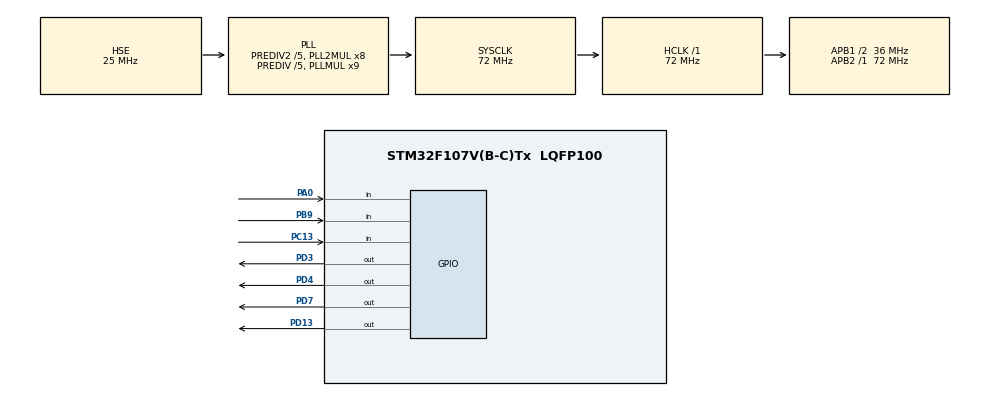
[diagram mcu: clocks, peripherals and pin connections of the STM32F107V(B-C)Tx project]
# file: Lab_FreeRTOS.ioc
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FREERTOS.CountingSemaphores01=WakeUpKeyPressed,5
FREERTOS.Queues01=PressedBtn,16,uint8_t,NULL
FREERTOS.Tasks01=defaultTask,0,128,StartDefaultTask;ScanUserKeys,0,128,StartScanUserKeys;TaskLEDS,0,128,StartTaskLEDS;TaskLEDBlink,0,128,StartLEDBlink;ScanWakeUpKey,0,128,StartScanWakeUpKey
Mcu.Family=STM32F1
Mcu.Name=STM32F107V(B-C)Tx
Mcu.Package=LQFP100
NVIC.PriorityGroup=NVIC_PRIORITYGROUP_4
OSC_IN.Mode=HSE-External-Oscillator
OSC_IN.Signal=RCC_OSC_IN
OSC_OUT.Mode=HSE-External-Oscillator
OSC_OUT.Signal=RCC_OSC_OUT
PA0-WKUP.GPIO_PuPd=GPIO_PULLDOWN
PA0-WKUP.Signal=GPIO_Input
PB9.GPIO_PuPd=GPIO_PULLUP
PB9.Signal=GPIO_Input
PC13-TAMPER-RTC.GPIO_PuPd=GPIO_PULLUP
PC13-TAMPER-RTC.Signal=GPIO_Input
PD13.Signal=GPIO_Output
PD3.Signal=GPIO_Output
PD4.Signal=GPIO_Output
PD7.Signal=GPIO_Output
ProjectManager.TargetToolchain=MDK-ARM V5
RCC.AHBFreq_Value=72000000
RCC.APB1CLKDivider=RCC_HCLK_DIV2
RCC.APB1Freq_Value=36000000
RCC.APB1TimFreq_Value=72000000
RCC.APB2Freq_Value=72000000
RCC.APB2TimFreq_Value=72000000
RCC.EnbaleCSS=true
RCC.HCLKFreq_Value=72000000
RCC.HSEDivPLL=RCC_HSE_PREDIV_DIV5
RCC.HSE_VALUE=25000000
RCC.HSIState=RCC_HSI_ON
RCC.PLLMUL=RCC_PLL_MUL9
RCC.PLLSourceVirtual=RCC_PLLSOURCE_HSE
RCC.Prediv1Source=RCC_PREDIV1_SOURCE_PLL2
RCC.Prediv2=RCC_HSE_PREDIV2_DIV5
RCC.SYSCLKFreq_VALUE=72000000
RCC.SYSCLKSource=RCC_SYSCLKSOURCE_PLLCLK
RCC.USBFreq_Value=48000000
VP_FREERTOS_VS_ENABLE.Mode=Enabled
board=Lab_FreeRTOS

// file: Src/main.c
/**
  ******************************************************************************
  * File Name          : main.c
  * Description        : Main program body
  ******************************************************************************
  *
  * COPYRIGHT(c) 2015 STMicroelectronics
  *
  * Redistribution and use in source and binary forms, with or without modification,
  * are permitted provided that the following conditions are met:
  *   1. Redistributions of source code must retain the above copyright notice,
  *      this list of conditions and the following disclaimer.
  *   2. Redistributions in binary form must reproduce the above copyright notice,
  *      this list of conditions and the following disclaimer in the documentation
  *      and/or other materials provided with the distribution.
  *   3. Neither the name of STMicroelectronics nor the names of its contributors
  *      may be used to endorse or promote products derived from this software
  *      without specific prior written permission.
  *
  * THIS SOFTWARE IS PROVIDED BY THE COPYRIGHT HOLDERS AND CONTRIBUTORS "AS IS"
  * AND ANY EXPRESS OR IMPLIED WARRANTIES, INCLUDING, BUT NOT LIMITED TO, THE
  * IMPLIED WARRANTIES OF MERCHANTABILITY AND FITNESS FOR A PARTICULAR PURPOSE ARE
  * DISCLAIMED. IN NO EVENT SHALL THE COPYRIGHT HOLDER OR CONTRIBUTORS BE LIABLE
  * FOR ANY DIRECT, INDIRECT, INCIDENTAL, SPECIAL, EXEMPLARY, OR CONSEQUENTIAL
  * DAMAGES (INCLUDING, BUT NOT LIMITED TO, PROCUREMENT OF SUBSTITUTE GOODS OR
  * SERVICES; LOSS OF USE, DATA, OR PROFITS; OR BUSINESS INTERRUPTION) HOWEVER
  * CAUSED AND ON ANY THEORY OF LIABILITY, WHETHER IN CONTRACT, STRICT LIABILITY,
  * OR TORT (INCLUDING NEGLIGENCE OR OTHERWISE) ARISING IN ANY WAY OUT OF THE USE
  * OF THIS SOFTWARE, EVEN IF ADVISED OF THE POSSIBILITY OF SUCH DAMAGE.
  *
  ******************************************************************************
  */
#include "stm32f1xx_hal.h"
#include "cmsis_os.h"

osThreadId defaultTaskHandle;
osThreadId ScanUserKeysHandle;
osThreadId TaskLEDSHandle;
osThreadId TaskLEDBlinkHandle;
osThreadId ScanWakeUpKeyHandle;
osMessageQId PressedBtnHandle;
osSemaphoreId WakeUpKeyPressedHandle;

/* USER CODE BEGIN PV */
/* Private variables ---------------------------------------------------------*/

/* USER CODE END PV */

void SystemClock_Config(void);
static void MX_GPIO_Init(void);
void StartDefaultTask(void const * argument);
void StartScanUserKeys(void const * argument);
void StartTaskLEDS(void const * argument);
void StartLEDBlink(void const * argument);
void StartScanWakeUpKey(void const * argument);

/* USER CODE BEGIN PFP */
/* Private function prototypes -----------------------------------------------*/

/* USER CODE END PFP */

int main(void)
{

  /* MCU Configuration----------------------------------------------------------*/

  /* Reset of all peripherals, Initializes the Flash interface and the Systick. */
  HAL_Init();

  /* Configure the system clock */
  SystemClock_Config();

  /* Initialize all configured peripherals */
  MX_GPIO_Init();

  /* Create the semaphores(s) */
  /* definition and creation of WakeUpKeyPressed */
  osSemaphoreDef(WakeUpKeyPressed);
  WakeUpKeyPressedHandle = osSemaphoreCreate(osSemaphore(WakeUpKeyPressed), 5);

  /* Create the thread(s) */
  /* definition and creation of defaultTask */
  osThreadDef(defaultTask, StartDefaultTask, osPriorityNormal, 0, 128);
  defaultTaskHandle = osThreadCreate(osThread(defaultTask), NULL);

  /* definition and creation of ScanUserKeys */
  osThreadDef(ScanUserKeys, StartScanUserKeys, osPriorityNormal, 0, 128);
  ScanUserKeysHandle = osThreadCreate(osThread(ScanUserKeys), NULL);

  /* definition and creation of TaskLEDS */
  osThreadDef(TaskLEDS, StartTaskLEDS, osPriorityNormal, 0, 128);
  TaskLEDSHandle = osThreadCreate(osThread(TaskLEDS), NULL);

  /* definition and creation of TaskLEDBlink */
  osThreadDef(TaskLEDBlink, StartLEDBlink, osPriorityNormal, 0, 128);
  TaskLEDBlinkHandle = osThreadCreate(osThread(TaskLEDBlink), NULL);

  /* definition and creation of ScanWakeUpKey */
  osThreadDef(ScanWakeUpKey, StartScanWakeUpKey, osPriorityNormal, 0, 128);
  ScanWakeUpKeyHandle = osThreadCreate(osThread(ScanWakeUpKey), NULL);

  /* Create the queue(s) */
  /* definition and creation of PressedBtn */
  osMessageQDef(PressedBtn, 16, uint8_t);
  PressedBtnHandle = osMessageCreate(osMessageQ(PressedBtn), NULL);

  /* Start scheduler */
  osKernelStart();

  /* We should never get here as control is now taken by the scheduler */

  /* Infinite loop */
  while (1)
  {

  }

}

/** System Clock Configuration
*/
void SystemClock_Config(void)
{

  RCC_OscInitTypeDef RCC_OscInitStruct;
  RCC_ClkInitTypeDef RCC_ClkInitStruct;

  RCC_OscInitStruct.OscillatorType = RCC_OSCILLATORTYPE_HSE;
  RCC_OscInitStruct.HSEState = RCC_HSE_ON;
  RCC_OscInitStruct.HSEPredivValue = RCC_HSE_PREDIV_DIV5;
  RCC_OscInitStruct.Prediv1Source = RCC_PREDIV1_SOURCE_PLL2;
  RCC_OscInitStruct.PLL.PLLState = RCC_PLL_ON;
  RCC_OscInitStruct.PLL.PLLSource = RCC_PLLSOURCE_HSE;
  RCC_OscInitStruct.PLL.PLLMUL = RCC_PLL_MUL9;
  RCC_OscInitStruct.PLL2.PLL2State = RCC_PLL2_ON;
  RCC_OscInitStruct.PLL2.PLL2MUL = RCC_PLL2_MUL8;
  RCC_OscInitStruct.PLL2.HSEPrediv2Value = RCC_HSE_PREDIV2_DIV5;
  HAL_RCC_OscConfig(&RCC_OscInitStruct);

  RCC_ClkInitStruct.ClockType = RCC_CLOCKTYPE_SYSCLK|RCC_CLOCKTYPE_PCLK1;
  RCC_ClkInitStruct.SYSCLKSource = RCC_SYSCLKSOURCE_PLLCLK;
  RCC_ClkInitStruct.AHBCLKDivider = RCC_SYSCLK_DIV1;
  RCC_ClkInitStruct.APB1CLKDivider = RCC_HCLK_DIV2;
  RCC_ClkInitStruct.APB2CLKDivider = RCC_HCLK_DIV1;
  HAL_RCC_ClockConfig(&RCC_ClkInitStruct, FLASH_LATENCY_2);

  HAL_RCC_EnableCSS();

  HAL_SYSTICK_Config(HAL_RCC_GetHCLKFreq()/1000);

  HAL_SYSTICK_CLKSourceConfig(SYSTICK_CLKSOURCE_HCLK);

  __HAL_RCC_PLLI2S_ENABLE();

  /* SysTick_IRQn interrupt configuration */
  HAL_NVIC_SetPriority(SysTick_IRQn, 0, 0);
}

/** Configure pins as
        * Analog
        * Input
        * Output
        * EVENT_OUT
        * EXTI
*/
void MX_GPIO_Init(void)
{

  GPIO_InitTypeDef GPIO_InitStruct;

  /* GPIO Ports Clock Enable */
  __HAL_RCC_GPIOC_CLK_ENABLE();
  __HAL_RCC_GPIOA_CLK_ENABLE();
  __HAL_RCC_GPIOD_CLK_ENABLE();
  __HAL_RCC_GPIOB_CLK_ENABLE();

  /*Configure GPIO pin : PC13 */
  GPIO_InitStruct.Pin = GPIO_PIN_13;
  GPIO_InitStruct.Mode = GPIO_MODE_INPUT;
  GPIO_InitStruct.Pull = GPIO_PULLUP;
  HAL_GPIO_Init(GPIOC, &GPIO_InitStruct);

  /*Configure GPIO pin : PA0 */
  GPIO_InitStruct.Pin = GPIO_PIN_0;
  GPIO_InitStruct.Mode = GPIO_MODE_INPUT;
  GPIO_InitStruct.Pull = GPIO_PULLDOWN;
  HAL_GPIO_Init(GPIOA, &GPIO_InitStruct);

  /*Configure GPIO pins : PD13 PD3 PD4 PD7 */
  GPIO_InitStruct.Pin = GPIO_PIN_13|GPIO_PIN_3|GPIO_PIN_4|GPIO_PIN_7;
  GPIO_InitStruct.Mode = GPIO_MODE_OUTPUT_PP;
  GPIO_InitStruct.Speed = GPIO_SPEED_LOW;
  HAL_GPIO_Init(GPIOD, &GPIO_InitStruct);

  /*Configure GPIO pin : PB9 */
  GPIO_InitStruct.Pin = GPIO_PIN_9;
  GPIO_InitStruct.Mode = GPIO_MODE_INPUT;
  GPIO_InitStruct.Pull = GPIO_PULLUP;
  HAL_GPIO_Init(GPIOB, &GPIO_InitStruct);

}

/* StartDefaultTask function */
void StartDefaultTask(void const * argument)
{

  /* USER CODE BEGIN 5 */
  /* Infinite loop */
  for(;;)
  {
	HAL_GPIO_TogglePin(GPIOD, GPIO_PIN_4);

	osDelay(100);
  }
  /* USER CODE END 5 */
}

/* StartScanUserKeys function */
void StartScanUserKeys(void const * argument)
{
  /* USER CODE BEGIN StartScanUserKeys */
  /* Infinite loop */
	for(;;)
	{
		if (HAL_GPIO_ReadPin(GPIOB, GPIO_PIN_9) == GPIO_PIN_RESET)
		{
			//Если нажата кнопка UserKey, пишем в очередь 1
			osMessagePut(PressedBtnHandle, 1, 10);
		}
		else if (HAL_GPIO_ReadPin(GPIOC,GPIO_PIN_13) == GPIO_PIN_RESET)
		{
			//Если нажата кнопка Tamper, пишем в очередь 2
			osMessagePut(PressedBtnHandle, 2, 10);
		}
		osDelay(100);
	}
  /* USER CODE END StartScanUserKeys */
}

/* StartTaskLEDS function */
void StartTaskLEDS(void const * argument)
{
  /* USER CODE BEGIN StartTaskLEDS */
  /* Infinite loop */

	uint32_t BtnCode;
	osEvent QueueEvent;

	for(;;)
	{
		QueueEvent = osMessageGet(PressedBtnHandle,10);	//Читаем сообщение ОС
		if (QueueEvent.status == osEventMessage)		//Если прочитали
		{
			BtnCode = (uint32_t)QueueEvent.value.p;		//Читаем содержимое очереди
			switch (BtnCode)							//Выполняем действие
			{											//в зависимости от содержимого очереди
				case 1:
					HAL_GPIO_TogglePin(GPIOD, GPIO_PIN_7);
					break;
				case 2:
					HAL_GPIO_TogglePin(GPIOD, GPIO_PIN_13);
					break;
				default:
					break;
			}
		}
		osDelay(1);
	}
  /* USER CODE END StartTaskLEDS */
}

/* StartLEDBlink function */
void StartLEDBlink(void const * argument)
{
  /* USER CODE BEGIN StartLEDBlink */
  /* Infinite loop */
  for(;;)
  {
	//Ждём семафор WakeUpKeyPressed
	xSemaphoreTake(WakeUpKeyPressedHandle, osWaitForever);
	HAL_GPIO_TogglePin(GPIOD, GPIO_PIN_3);
    osDelay(500);
  }
  /* USER CODE END StartLEDBlink */
}

/* StartScanWakeUpKey function */
void StartScanWakeUpKey(void const * argument)
{
  /* USER CODE BEGIN StartScanWakeUpKey */
  /* Infinite loop */
  for(;;)
  {
	if (HAL_GPIO_ReadPin(GPIOA,GPIO_PIN_0) == GPIO_PIN_SET)
	{
		//Устанавливаем семафор WakeUpKeyPressed
		xSemaphoreGive(WakeUpKeyPressedHandle);
	}
    osDelay(100);
  }
  /* USER CODE END StartScanWakeUpKey */
}

/************************ (C) COPYRIGHT STMicroelectronics *****END OF FILE****/
